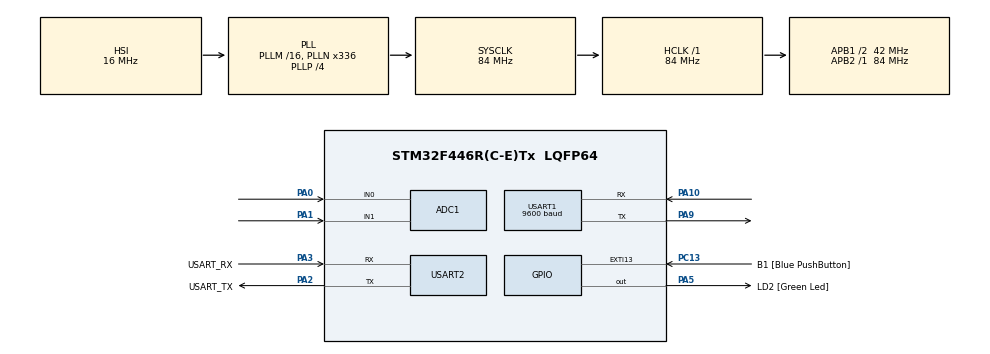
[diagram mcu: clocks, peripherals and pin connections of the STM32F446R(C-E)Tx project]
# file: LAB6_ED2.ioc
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ADC1.Channel-0\#ChannelRegularConversion=ADC_CHANNEL_0
ADC1.Channel-1\#ChannelRegularConversion=ADC_CHANNEL_1
ADC1.ContinuousConvMode=ENABLE
ADC1.NbrOfConversion=2
ADC1.NbrOfConversionFlag=1
ADC1.Rank-0\#ChannelRegularConversion=1
ADC1.Rank-1\#ChannelRegularConversion=2
ADC1.SamplingTime-0\#ChannelRegularConversion=ADC_SAMPLETIME_3CYCLES
ADC1.SamplingTime-1\#ChannelRegularConversion=ADC_SAMPLETIME_3CYCLES
ADC1.ScanConvMode=ENABLE
ADC1.master=1
Mcu.Family=STM32F4
Mcu.Name=STM32F446R(C-E)Tx
Mcu.Package=LQFP64
NVIC.PriorityGroup=NVIC_PRIORITYGROUP_0
NVIC.USART1_IRQn=true\:0\:0\:false\:false\:true\:true\:true\:true
PA0-WKUP.Signal=ADCx_IN0
PA1.Signal=ADCx_IN1
PA10.Mode=Asynchronous
PA10.Signal=USART1_RX
PA13.GPIO_Label=TMS
PA13.Mode=Serial_Wire
PA13.Signal=SYS_JTMS-SWDIO
PA14.GPIO_Label=TCK
PA14.Mode=Serial_Wire
PA14.Signal=SYS_JTCK-SWCLK
PA2.GPIO_Label=USART_TX
PA2.Mode=Asynchronous
PA2.Signal=USART2_TX
PA3.GPIO_Label=USART_RX
PA3.Mode=Asynchronous
PA3.Signal=USART2_RX
PA5.GPIO_Label=LD2 [Green Led]
PA5.Signal=GPIO_Output
PA9.Mode=Asynchronous
PA9.Signal=USART1_TX
PB3.GPIO_Label=SWO
PB3.Signal=SYS_JTDO-SWO
PC13.GPIO_Label=B1 [Blue PushButton]
PC13.GPIO_ModeDefaultEXTI=GPIO_MODE_IT_FALLING
PC13.Signal=GPXTI13
PC14-OSC32_IN.Mode=LSE-External-Oscillator
PC14-OSC32_IN.Signal=RCC_OSC32_IN
PC15-OSC32_OUT.Mode=LSE-External-Oscillator
PC15-OSC32_OUT.Signal=RCC_OSC32_OUT
PH0-OSC_IN.Mode=HSE-External-Oscillator
PH0-OSC_IN.Signal=RCC_OSC_IN
PH1-OSC_OUT.Mode=HSE-External-Oscillator
PH1-OSC_OUT.Signal=RCC_OSC_OUT
ProjectManager.HeapSize=0x200
ProjectManager.StackSize=0x400
ProjectManager.TargetToolchain=STM32CubeIDE
RCC.48MHZClocksFreq_Value=84000000
RCC.AHBFreq_Value=84000000
RCC.APB1CLKDivider=RCC_HCLK_DIV2
RCC.APB1Freq_Value=42000000
RCC.APB1TimFreq_Value=84000000
RCC.APB2Freq_Value=84000000
RCC.APB2TimFreq_Value=84000000
RCC.CortexFreq_Value=84000000
RCC.FLatency-AdvancedSettings=FLASH_LATENCY_2
RCC.HCLKFreq_Value=84000000
RCC.HSE_VALUE=8000000
RCC.HSI_VALUE=16000000
RCC.PLLN=336
RCC.PLLP=RCC_PLLP_DIV4
RCC.SYSCLKFreq_VALUE=84000000
RCC.SYSCLKSource=RCC_SYSCLKSOURCE_PLLCLK
RCC.USBFreq_Value=168000000
RCC.VCOOutputFreq_Value=336000000
SH.ADCx_IN0.0=ADC1_IN0,IN0
SH.ADCx_IN1.0=ADC1_IN1,IN1
USART1.BaudRate=9600
USART1.VirtualMode=VM_ASYNC
USART2.VirtualMode=VM_ASYNC
board=NUCLEO-F446RE

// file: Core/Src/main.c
/* USER CODE BEGIN Header */
/**
  ******************************************************************************
  * @file           : main.c
  * @brief          : Main program body
  ******************************************************************************
  * @attention
  *
  * Copyright (c) 2026 STMicroelectronics.
  * All rights reserved.
  *
  * This software is licensed under terms that can be found in the LICENSE file
  * in the root directory of this software component.
  * If no LICENSE file comes with this software, it is provided AS-IS.
  *
  ******************************************************************************
  */
/* USER CODE END Header */
#include "main.h"

/* USER CODE BEGIN Includes */
#include <stdio.h>
#include <string.h>

/* USER CODE END Includes */

ADC_HandleTypeDef hadc1;

UART_HandleTypeDef huart1;
UART_HandleTypeDef huart2;

/* USER CODE BEGIN PV */

uint32_t adc_x = 0;
uint32_t adc_y = 0;

char msg[100];
char *estado_y;
char *estado_x;

/* UART1 recepción desde Nano por interrupción */
uint8_t rx1_byte;
volatile uint8_t nano_rx_ready = 0;
volatile uint8_t nano_rx_data = 0;

/* USER CODE END PV */

void SystemClock_Config(void);
static void MX_GPIO_Init(void);
static void MX_ADC1_Init(void);
static void MX_USART2_UART_Init(void);
static void MX_USART1_UART_Init(void);

/* USER CODE BEGIN 0 */

void HAL_UART_RxCpltCallback(UART_HandleTypeDef *huart)
{
    if (huart->Instance == USART1)
    {
        HAL_GPIO_TogglePin(LD2_GPIO_Port, LD2_Pin);

        nano_rx_data = rx1_byte;
        nano_rx_ready = 1;

        HAL_UART_Receive_IT(&huart1, &rx1_byte, 1);
    }
}

/* USER CODE END 0 */

int main(void)
{

  /* MCU Configuration--------------------------------------------------------*/

  /* Reset of all peripherals, Initializes the Flash interface and the Systick. */
  HAL_Init();

  /* Configure the system clock */
  SystemClock_Config();

  /* Initialize all configured peripherals */
  MX_GPIO_Init();
  MX_ADC1_Init();
  MX_USART2_UART_Init();
  MX_USART1_UART_Init();
  /* USER CODE BEGIN 2 */

  if (HAL_UART_Receive_IT(&huart1, &rx1_byte, 1) != HAL_OK)
  {
      HAL_UART_Transmit(&huart2, (uint8_t*)"UART1 RX IT ERROR\r\n", 20, HAL_MAX_DELAY);
  }
  else
  {
      HAL_UART_Transmit(&huart2, (uint8_t*)"UART1 RX IT OK\r\n", 16, HAL_MAX_DELAY);
  }
  /* USER CODE END 2 */

  /* Infinite loop */
  /* USER CODE BEGIN WHILE */
  /* USER CODE BEGIN WHILE */
    while (1)
    {
    /* USER CODE END WHILE */

    /* USER CODE BEGIN 3 */
        uint8_t dato_nano = 0;

        /* 1) Si llegó algo del Nano, atenderlo primero */
        if (nano_rx_ready)
        {
            __disable_irq();
            dato_nano = nano_rx_data;
            nano_rx_ready = 0;
            __enable_irq();

            sprintf(msg, "NANO -> %c\r\n", dato_nano);
            HAL_UART_Transmit(&huart2, (uint8_t *)msg, strlen(msg), HAL_MAX_DELAY);
        }

        /* 2) Leer ADC */
        HAL_ADC_Start(&hadc1);

        HAL_ADC_PollForConversion(&hadc1, HAL_MAX_DELAY);
        adc_y = HAL_ADC_GetValue(&hadc1);

        HAL_ADC_PollForConversion(&hadc1, HAL_MAX_DELAY);
        adc_x = HAL_ADC_GetValue(&hadc1);

        if (adc_y < 1750) {
            estado_y = "ARRIBA";
        }
        else if (adc_y > 2150) {
            estado_y = "ABAJO";
        }
        else {
            estado_y = "CENTRO";
        }

        if (adc_x < 2000) {
            estado_x = "DERECHA";
        }
        else if (adc_x > 3050) {
            estado_x = "IZQUIERDA";
        }
        else {
            estado_x = "CENTRO";
        }

        /* 3) Luego mandar joystick */
        sprintf(msg, "JOY -> X=%lu (%s) | Y=%lu (%s)\r\n", adc_x, estado_x, adc_y, estado_y);
        HAL_UART_Transmit(&huart2, (uint8_t *)msg, strlen(msg), HAL_MAX_DELAY);

        HAL_Delay(100);
    }
  /* USER CODE END 3 */
}

void SystemClock_Config(void)
{
  RCC_OscInitTypeDef RCC_OscInitStruct = {0};
  RCC_ClkInitTypeDef RCC_ClkInitStruct = {0};

  /** Configure the main internal regulator output voltage
  */
  __HAL_RCC_PWR_CLK_ENABLE();
  __HAL_PWR_VOLTAGESCALING_CONFIG(PWR_REGULATOR_VOLTAGE_SCALE3);

  /** Initializes the RCC Oscillators according to the specified parameters
  * in the RCC_OscInitTypeDef structure.
  */
  RCC_OscInitStruct.OscillatorType = RCC_OSCILLATORTYPE_HSI;
  RCC_OscInitStruct.HSIState = RCC_HSI_ON;
  RCC_OscInitStruct.HSICalibrationValue = RCC_HSICALIBRATION_DEFAULT;
  RCC_OscInitStruct.PLL.PLLState = RCC_PLL_ON;
  RCC_OscInitStruct.PLL.PLLSource = RCC_PLLSOURCE_HSI;
  RCC_OscInitStruct.PLL.PLLM = 16;
  RCC_OscInitStruct.PLL.PLLN = 336;
  RCC_OscInitStruct.PLL.PLLP = RCC_PLLP_DIV4;
  RCC_OscInitStruct.PLL.PLLQ = 2;
  RCC_OscInitStruct.PLL.PLLR = 2;
  if (HAL_RCC_OscConfig(&RCC_OscInitStruct) != HAL_OK)
  {
    Error_Handler();
  }

  /** Initializes the CPU, AHB and APB buses clocks
  */
  RCC_ClkInitStruct.ClockType = RCC_CLOCKTYPE_HCLK|RCC_CLOCKTYPE_SYSCLK
                              |RCC_CLOCKTYPE_PCLK1|RCC_CLOCKTYPE_PCLK2;
  RCC_ClkInitStruct.SYSCLKSource = RCC_SYSCLKSOURCE_PLLCLK;
  RCC_ClkInitStruct.AHBCLKDivider = RCC_SYSCLK_DIV1;
  RCC_ClkInitStruct.APB1CLKDivider = RCC_HCLK_DIV2;
  RCC_ClkInitStruct.APB2CLKDivider = RCC_HCLK_DIV1;

  if (HAL_RCC_ClockConfig(&RCC_ClkInitStruct, FLASH_LATENCY_2) != HAL_OK)
  {
    Error_Handler();
  }
}

static void MX_ADC1_Init(void)
{

  ADC_ChannelConfTypeDef sConfig = {0};

  /** Configure the global features of the ADC (Clock, Resolution, Data Alignment and number of conversion)
  */
  hadc1.Instance = ADC1;
  hadc1.Init.ClockPrescaler = ADC_CLOCK_SYNC_PCLK_DIV4;
  hadc1.Init.Resolution = ADC_RESOLUTION_12B;
  hadc1.Init.ScanConvMode = ENABLE;
  hadc1.Init.ContinuousConvMode = ENABLE;
  hadc1.Init.DiscontinuousConvMode = DISABLE;
  hadc1.Init.ExternalTrigConvEdge = ADC_EXTERNALTRIGCONVEDGE_NONE;
  hadc1.Init.ExternalTrigConv = ADC_SOFTWARE_START;
  hadc1.Init.DataAlign = ADC_DATAALIGN_RIGHT;
  hadc1.Init.NbrOfConversion = 2;
  hadc1.Init.DMAContinuousRequests = DISABLE;
  hadc1.Init.EOCSelection = ADC_EOC_SINGLE_CONV;
  if (HAL_ADC_Init(&hadc1) != HAL_OK)
  {
    Error_Handler();
  }

  /** Configure for the selected ADC regular channel its corresponding rank in the sequencer and its sample time.
  */
  sConfig.Channel = ADC_CHANNEL_0;
  sConfig.Rank = 1;
  sConfig.SamplingTime = ADC_SAMPLETIME_3CYCLES;
  if (HAL_ADC_ConfigChannel(&hadc1, &sConfig) != HAL_OK)
  {
    Error_Handler();
  }

  /** Configure for the selected ADC regular channel its corresponding rank in the sequencer and its sample time.
  */
  sConfig.Channel = ADC_CHANNEL_1;
  sConfig.Rank = 2;
  if (HAL_ADC_ConfigChannel(&hadc1, &sConfig) != HAL_OK)
  {
    Error_Handler();
  }

}

static void MX_USART1_UART_Init(void)
{

  huart1.Instance = USART1;
  huart1.Init.BaudRate = 9600;
  huart1.Init.WordLength = UART_WORDLENGTH_8B;
  huart1.Init.StopBits = UART_STOPBITS_1;
  huart1.Init.Parity = UART_PARITY_NONE;
  huart1.Init.Mode = UART_MODE_TX_RX;
  huart1.Init.HwFlowCtl = UART_HWCONTROL_NONE;
  huart1.Init.OverSampling = UART_OVERSAMPLING_16;
  if (HAL_UART_Init(&huart1) != HAL_OK)
  {
    Error_Handler();
  }

}

static void MX_USART2_UART_Init(void)
{

  huart2.Instance = USART2;
  huart2.Init.BaudRate = 115200;
  huart2.Init.WordLength = UART_WORDLENGTH_8B;
  huart2.Init.StopBits = UART_STOPBITS_1;
  huart2.Init.Parity = UART_PARITY_NONE;
  huart2.Init.Mode = UART_MODE_TX_RX;
  huart2.Init.HwFlowCtl = UART_HWCONTROL_NONE;
  huart2.Init.OverSampling = UART_OVERSAMPLING_16;
  if (HAL_UART_Init(&huart2) != HAL_OK)
  {
    Error_Handler();
  }

}

static void MX_GPIO_Init(void)
{
  GPIO_InitTypeDef GPIO_InitStruct = {0};

  /* GPIO Ports Clock Enable */
  __HAL_RCC_GPIOC_CLK_ENABLE();
  __HAL_RCC_GPIOH_CLK_ENABLE();
  __HAL_RCC_GPIOA_CLK_ENABLE();
  __HAL_RCC_GPIOB_CLK_ENABLE();

  /*Configure GPIO pin Output Level */
  HAL_GPIO_WritePin(LD2_GPIO_Port, LD2_Pin, GPIO_PIN_RESET);

  /*Configure GPIO pin : B1_Pin */
  GPIO_InitStruct.Pin = B1_Pin;
  GPIO_InitStruct.Mode = GPIO_MODE_IT_FALLING;
  GPIO_InitStruct.Pull = GPIO_NOPULL;
  HAL_GPIO_Init(B1_GPIO_Port, &GPIO_InitStruct);

  /*Configure GPIO pin : LD2_Pin */
  GPIO_InitStruct.Pin = LD2_Pin;
  GPIO_InitStruct.Mode = GPIO_MODE_OUTPUT_PP;
  GPIO_InitStruct.Pull = GPIO_NOPULL;
  GPIO_InitStruct.Speed = GPIO_SPEED_FREQ_LOW;
  HAL_GPIO_Init(LD2_GPIO_Port, &GPIO_InitStruct);

  /* USER CODE BEGIN MX_GPIO_Init_2 */

  /* USER CODE AEND MX_GPIO_Init_2 */
}

void Error_Handler(void)
{
  __disable_irq();
  while (1)
  {
  }
}
